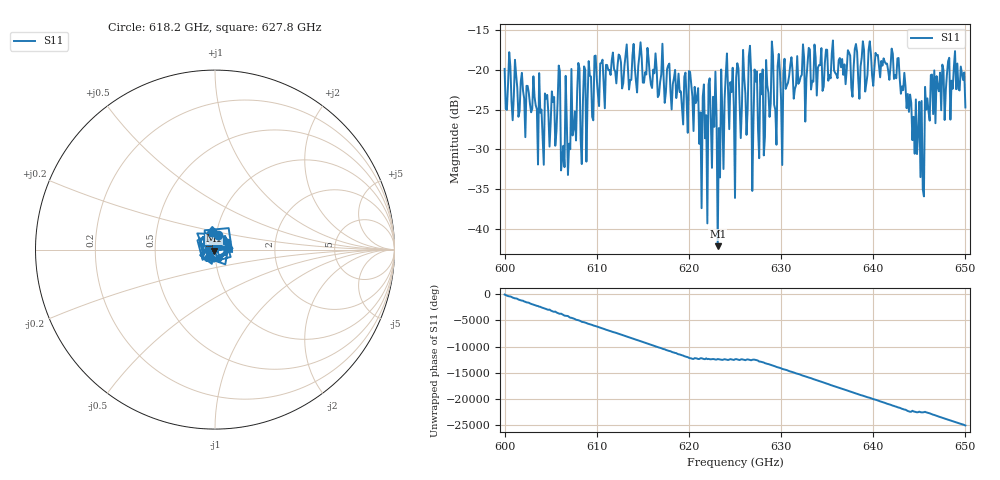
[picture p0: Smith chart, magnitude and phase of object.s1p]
!Created with skrf (http://scikit-rf.org).
# GHz S MA R 50.0
!freq magS11 angS11
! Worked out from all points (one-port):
!   401 points, 600 GHz to 650 GHz, reference 50 ohm
!   lowest |S11| = -42.2 dB at 623.1 GHz (marker M1), VSWR 1.02, Z = 49.5 - j0.578 ohm
!   |S11| at or under -10 dB: start of sweep to end of sweep
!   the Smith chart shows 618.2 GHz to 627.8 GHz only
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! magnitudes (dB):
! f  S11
! 600 GHz  -19.9
! 604.1 GHz  -28.6
! 605.8 GHz  -24.1
! 606.2 GHz  -31.2
! 607.6 GHz  -25.2
! 607.9 GHz  -22.7
! 608.6 GHz  -19.6
! 609.2 GHz  -20.7
! 612.5 GHz  -18.2
! 618.8 GHz  -22.4
! 620.2 GHz  -21.8
! 621.1 GHz  -29.3
! 622.2 GHz  -21.1
! 622.4 GHz  -26.3
! 623.1 GHz  -42.2
! 624.2 GHz  -22.5
! 625 GHz  -36.1
! 626.5 GHz  -18.3
! 627.9 GHz  -23.1
! 628.9 GHz  -24.2
! 631.2 GHz  -20.2
! 637.5 GHz  -18.2
! 642.1 GHz  -18.0
! 643.8 GHz  -23.0
! 645.2 GHz  -23.9
! 646.4 GHz  -20.6
! 649 GHz  -22.4
! 650 GHz  -24.7
